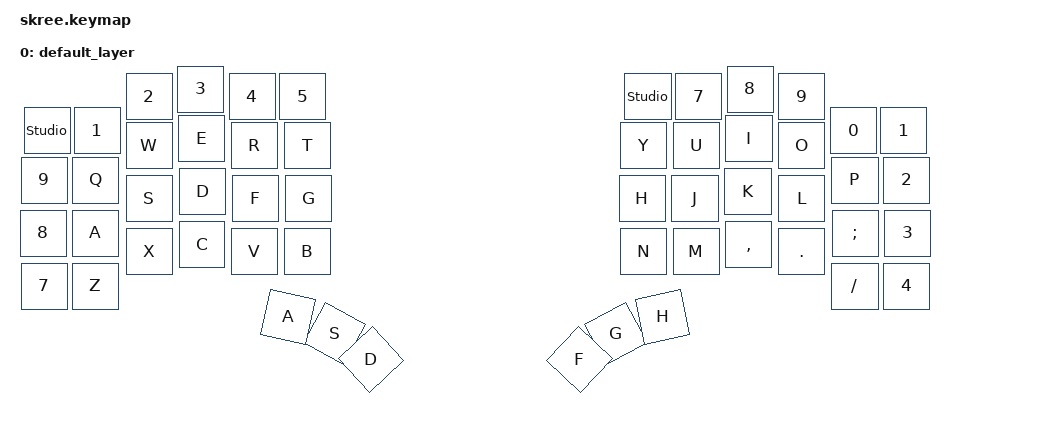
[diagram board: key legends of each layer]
#include <behaviors.dtsi>
#include <dt-bindings/zmk/keys.h>

/ {
    keymap {
        compatible = "zmk,keymap";

        default_layer {
            bindings = <&studio_unlock &kp N1 &kp N2 &kp N3 &kp N4 &kp N5 &studio_unlock &kp N7 &kp N8 &kp N9 &kp N0 &kp N1 &kp N9 &kp Q &kp W &kp E &kp R &kp T &kp Y &kp U &kp I &kp O &kp P &kp N2 &kp N8 &kp A &kp S &kp D &kp F &kp G &kp H &kp J &kp K &kp L &kp SEMI &kp N3 &kp N7 &kp Z &kp X &kp C &kp V &kp B &kp N &kp M &kp COMMA &kp DOT &kp FSLH &kp N4 &kp S &kp A &kp D &kp G &kp H &kp F>;
        };

        extra1 {
            status = "reserved";
        };

        extra2 {
            status = "reserved";
        };

        extra3 {
            status = "reserved";
        };
    };
};
